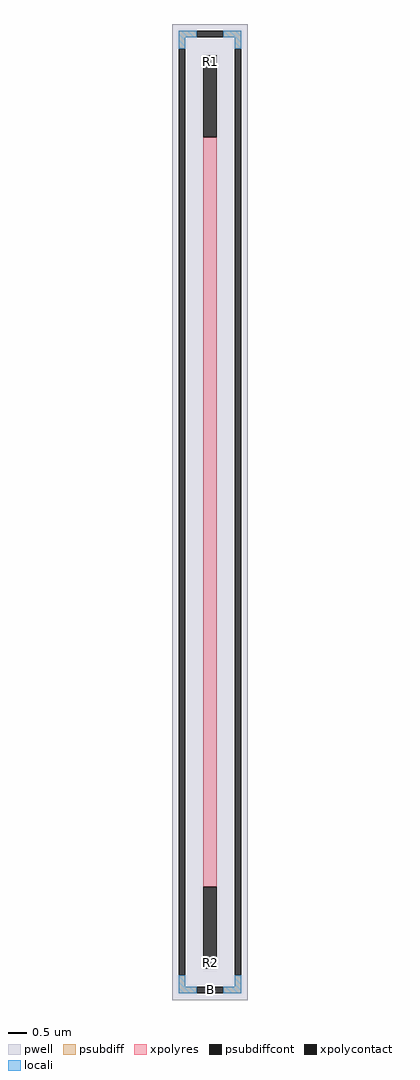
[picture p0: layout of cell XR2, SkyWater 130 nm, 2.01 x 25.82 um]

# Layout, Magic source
magic
tech sky130A
magscale 1 2
<< pwell >>
rect -201 -2582 201 2582
<< psubdiff >>
rect -165 2512 -69 2546
rect 69 2512 165 2546
rect -165 2450 -131 2512
rect 131 2450 165 2512
rect -165 -2512 -131 -2450
rect 131 -2512 165 -2450
rect -165 -2546 -69 -2512
rect 69 -2546 165 -2512
<< psubdiffcont >>
rect -69 2512 69 2546
rect -165 -2450 -131 2450
rect 131 -2450 165 2450
rect -69 -2546 69 -2512
<< xpolycontact >>
rect -35 1984 35 2416
rect -35 -2416 35 -1984
<< xpolyres >>
rect -35 -1984 35 1984
<< locali >>
rect -165 2512 -69 2546
rect 69 2512 165 2546
rect -165 2450 -131 2512
rect 131 2450 165 2512
rect -165 -2512 -131 -2450
rect 131 -2512 165 -2450
rect -165 -2546 -69 -2512
rect 69 -2546 165 -2512
<< labels >>
rlabel psubdiffcont 0 -2529 0 -2529 0 B
port 3 nsew
rlabel xpolycontact 0 2381 0 2381 0 R1
port 4 nsew
rlabel xpolycontact 0 -2381 0 -2381 0 R2
port 5 nsew
<< properties >>
string FIXED_BBOX -148 -2529 148 2529
<< end >>
